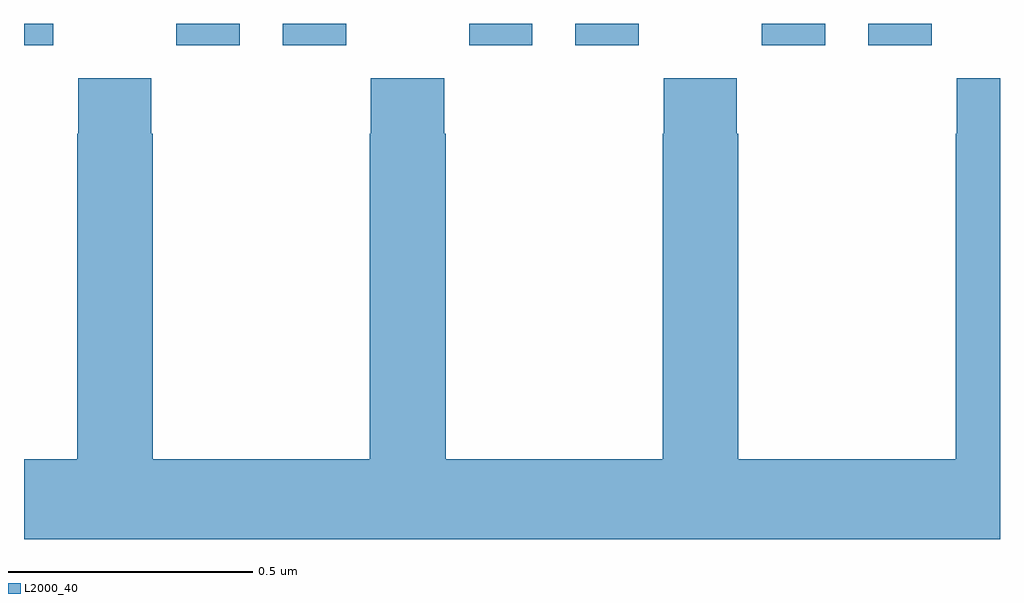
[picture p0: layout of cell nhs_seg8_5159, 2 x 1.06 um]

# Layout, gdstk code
import gdstk
lib = gdstk.Library(unit=1e-6, precision=1e-09)
def R(c, l, rs):  # rectangles x0, y0, x1, y1
    for r in rs: c.add(gdstk.rectangle(r[:2], r[2:], *l))
def P(c, l, *ps):  # polygons
    for p in ps: c.add(gdstk.Polygon(p, *l))
L2000_40 = (2000, 40)

nhs_seg8_5159 = lib.new_cell('nhs_seg8_5159')
R(nhs_seg8_5159, L2000_40, [(180,1106.856,180.06,1106.9), (180.312,1106.856,180.442,1106.9), (180.53,1106.856,180.66,1106.9), (180.912,1106.856,181.042,1106.9), (181.13,1106.856,181.26,1106.9), (181.512,1106.856,181.642,1106.9), (181.73,1106.856,181.86,1106.9)])
P(nhs_seg8_5159, L2000_40, [(182,1106.788),(181.911,1106.788),(181.911,1106.675),(181.909,1106.675),(181.909,1106.008),(181.464,1106.008),(181.464,1106.675),(181.461,1106.675),(181.461,1106.788),(181.311,1106.788),(181.311,1106.675),(181.309,1106.675),(181.309,1106.008),(180.864,1106.008),(180.864,1106.675),(180.861,1106.675),(180.861,1106.788),(180.711,1106.788),(180.711,1106.675),(180.709,1106.675),(180.709,1106.008),(180.264,1106.008),(180.264,1106.675),(180.261,1106.675),(180.261,1106.788),(180.111,1106.788),(180.111,1106.675),(180.109,1106.675),(180.109,1106.008),(180,1106.008),(180,1105.844),(182,1105.844)])

lib.write_gds('nhs_seg8_5159.gds')
